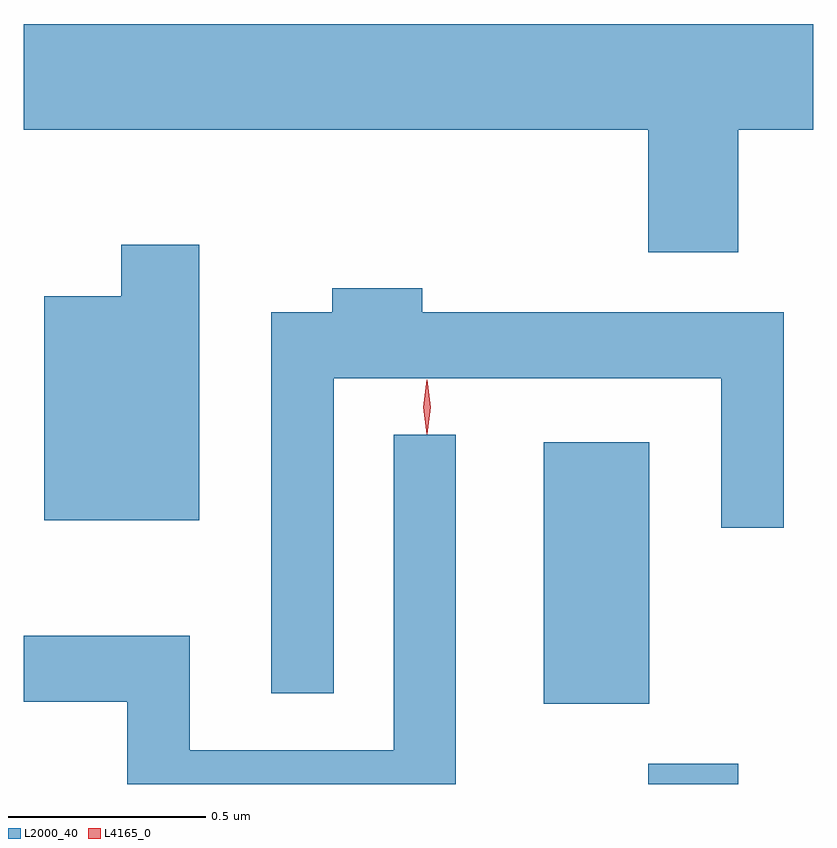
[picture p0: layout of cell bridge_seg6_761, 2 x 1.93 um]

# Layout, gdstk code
import gdstk
lib = gdstk.Library(unit=1e-6, precision=1e-09)
def R(c, l, rs):  # rectangles x0, y0, x1, y1
    for r in rs: c.add(gdstk.rectangle(r[:2], r[2:], *l))
def P(c, l, *ps):  # polygons
    for p in ps: c.add(gdstk.Polygon(p, *l))
L2000_40 = (2000, 40)
L4165_0 = (4165, 0)

bridge_seg6_761 = lib.new_cell('bridge_seg6_761')
R(bridge_seg6_761, L2000_40, [(592.921,1537.278,593.149,1537.329), (592.656,1537.481,592.924,1538.144)])
P(bridge_seg6_761, L2000_40, [(593.149,1538.936),(593.339,1538.936),(593.339,1539.204),(591.339,1539.204),(591.339,1538.936),(592.921,1538.936),(592.921,1538.626),(593.149,1538.626)],
  [(591.784,1538.644),(591.586,1538.644),(591.586,1538.514),(591.391,1538.514),(591.391,1537.946),(591.784,1537.946)],
  [(592.124,1538.306),(593.106,1538.306),(593.106,1537.928),(593.264,1537.928),(593.264,1538.474),(592.349,1538.474),(592.349,1538.534),(592.121,1538.534),(592.121,1538.474),(591.966,1538.474),(591.966,1537.508),(592.124,1537.508)],
  [(592.434,1538.163),(592.276,1538.163),(592.276,1537.364),(591.759,1537.364),(591.759,1537.654),(591.339,1537.654),(591.339,1537.486),(591.601,1537.486),(591.601,1537.278),(592.434,1537.278)])
P(bridge_seg6_761, L4165_0, [(592.36,1538.164),(592.36,1538.164),(592.351,1538.233),(592.36,1538.302),(592.361,1538.303),(592.361,1538.302),(592.37,1538.233),(592.361,1538.164)])

lib.write_gds('bridge_seg6_761.gds')
